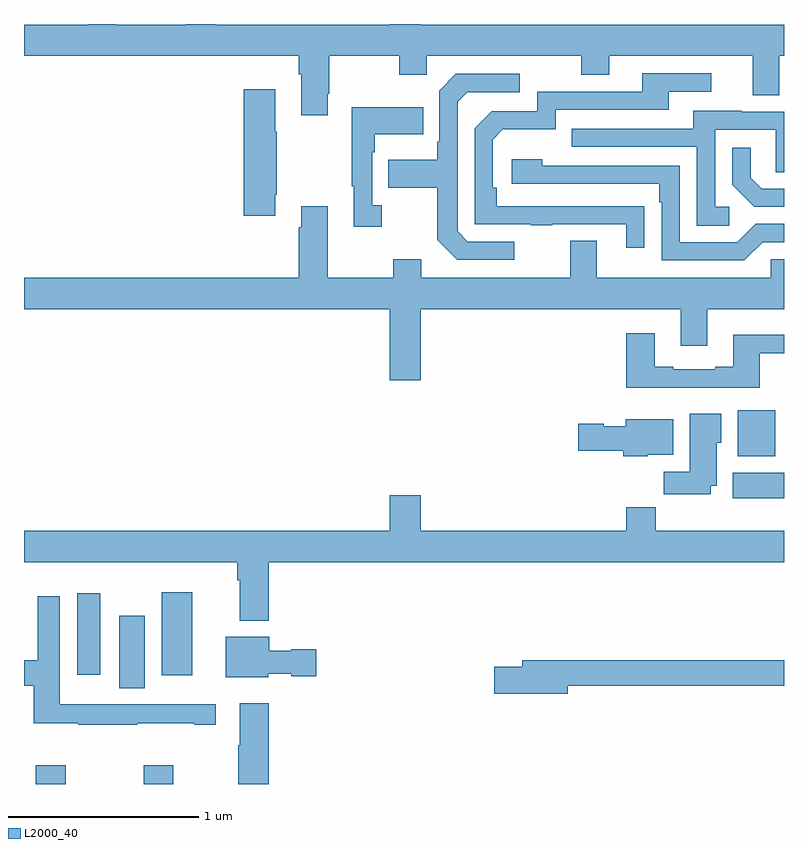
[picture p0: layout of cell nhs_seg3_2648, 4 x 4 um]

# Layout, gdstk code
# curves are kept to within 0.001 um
import gdstk
lib = gdstk.Library(unit=1e-6, precision=1e-09)
def R(c, l, rs):  # rectangles x0, y0, x1, y1
    for r in rs: c.add(gdstk.rectangle(r[:2], r[2:], *l))
def P(c, l, *ps):  # polygons
    for p in ps: c.add(gdstk.Polygon(p, *l))
L2000_40 = (2000, 40)

nhs_seg3_2648 = lib.new_cell('nhs_seg3_2648')
R(nhs_seg3_2648, L2000_40, [(247.061,714.4,247.221,714.499), (247.63,714.4,247.785,714.499), (247.502,714.904,247.636,715.285), (247.724,714.972,247.885,715.408), (247.28,714.975,247.402,715.405), (250.73,715.904,251,716.038), (250.757,716.126,250.954,716.368)])
P(nhs_seg3_2648, L2000_40, [(248.599,718.033),(248.607,718.033),(248.607,718.232),(248.974,718.232),(248.974,718.133),(249.12,718.133),(249.12,718.232),(249.934,718.232),(249.934,718.133),(250.081,718.133),(250.081,718.232),(250.835,718.232),(250.835,718.024),(250.975,718.024),(250.975,718.232),(251,718.232),(251,718.396),(249.088,718.396),(249.088,718.4),(248.924,718.4),(248.924,718.396),(248.012,718.396),(248.012,718.4),(247.852,718.4),(247.852,718.396),(247.485,718.396),(247.485,718.4),(247.338,718.4),(247.338,718.396),(247,718.396),(247,718.232),(248.447,718.232),(248.447,718.136),(248.459,718.136),(248.459,717.921),(248.599,717.921)],
  [(250.265,717.44),(249.488,717.441),(249.488,717.538),(249.468,717.538),(249.468,717.792),(249.521,717.845),(249.798,717.845),(249.798,717.948),(250.393,717.948),(250.393,718.044),(250.618,718.044),(250.618,718.14),(250.253,718.14),(250.253,718.044),(249.702,718.044),(249.702,717.942),(249.462,717.942),(249.372,717.852),(249.372,717.345),(249.667,717.345),(249.667,717.34),(249.779,717.34),(249.779,717.345),(250.169,717.345),(250.169,717.222),(250.265,717.222)],
  [(249.58,717.255),(249.336,717.255),(249.282,717.309),(249.282,717.99),(249.333,718.041),(249.61,718.041),(249.61,718.137),(249.273,718.137),(249.186,718.05),(249.186,717.781),(249.174,717.781),(249.174,717.685),(248.917,717.685),(248.917,717.538),(249.174,717.538),(249.174,717.265),(249.279,717.159),(249.58,717.159)],
  [(248.323,717.502),(248.331,717.502),(248.331,717.833),(248.323,717.833),(248.323,718.057),(248.156,718.057),(248.156,717.39),(248.323,717.39)],
  [(248.884,717.446),(248.832,717.446),(248.832,717.725),(248.845,717.725),(248.845,717.821),(249.101,717.821),(249.101,717.961),(248.724,717.961),(248.724,717.545),(248.735,717.545),(248.735,717.333),(248.884,717.333)],
  [(250.711,717.438),(250.638,717.438),(250.638,717.843),(250.956,717.843),(250.956,717.619),(251,717.619),(251,717.939),(250.777,717.939),(250.777,717.943),(250.523,717.943),(250.523,717.849),(249.883,717.849),(249.883,717.753),(250.542,717.753),(250.542,717.337),(250.711,717.337)],
  [(251,717.534),(250.882,717.534),(250.825,717.591),(250.825,717.748),(250.728,717.748),(250.728,717.554),(250.844,717.438),(251,717.438)],
  [(250.887,717.252),(251,717.252),(251,717.348),(250.851,717.348),(250.755,717.252),(250.452,717.252),(250.452,717.654),(249.728,717.654),(249.728,717.688),(249.567,717.688),(249.567,717.558),(250.343,717.558),(250.343,717.461),(250.356,717.461),(250.356,717.156),(250.791,717.156)],
  [(249.088,716.9),(250.457,716.9),(250.457,716.706),(250.597,716.706),(250.597,716.9),(251,716.9),(251,717.162),(250.929,717.162),(250.929,717.064),(250.015,717.064),(250.015,717.259),(249.875,717.259),(249.875,717.064),(249.091,717.064),(249.091,717.163),(248.944,717.163),(248.944,717.064),(248.599,717.064),(248.599,717.442),(248.459,717.442),(248.459,717.329),(248.447,717.329),(248.447,717.064),(247,717.064),(247,716.9),(248.924,716.9),(248.924,716.526),(249.088,716.526)],
  [(250.873,716.667),(251,716.667),(251,716.764),(250.733,716.764),(250.733,716.596),(250.637,716.596),(250.637,716.583),(250.417,716.583),(250.417,716.596),(250.321,716.596),(250.321,716.773),(250.169,716.773),(250.169,716.486),(250.873,716.486)],
  [(250.615,715.97),(250.645,715.97),(250.645,716.196),(250.669,716.196),(250.669,716.35),(250.505,716.35),(250.505,716.044),(250.366,716.044),(250.366,715.926),(250.615,715.926)],
  [(250.284,716.132),(250.417,716.132),(250.417,716.32),(250.166,716.32),(250.166,716.284),(250.05,716.284),(250.05,716.297),(249.918,716.297),(249.918,716.155),(250.154,716.155),(250.154,716.126),(250.284,716.126)],
  [(248.288,715.568),(251,715.568),(251,715.732),(250.325,715.732),(250.325,715.856),(250.169,715.856),(250.169,715.732),(249.088,715.732),(249.088,715.921),(248.924,715.921),(248.924,715.732),(247,715.732),(247,715.568),(248.123,715.568),(248.123,715.472),(248.135,715.472),(248.135,715.259),(248.288,715.259)],
  [(247.595,714.721),(247.895,714.721),(247.895,714.711),(248.008,714.711),(248.008,714.82),(247.732,714.82),(247.732,714.819),(247.398,714.819),(247.398,714.82),(247.188,714.82),(247.188,715.387),(247.072,715.387),(247.072,715.052),(247,715.052),(247,714.916),(247.051,714.916),(247.051,714.721),(247.285,714.721),(247.285,714.711),(247.595,714.711)],
  [(248.286,714.98),(248.406,714.98),(248.406,714.968),(248.539,714.968),(248.539,715.11),(248.406,715.11),(248.406,715.102),(248.29,715.102),(248.29,715.174),(248.063,715.174),(248.063,714.962),(248.286,714.962)],
  [(249.862,714.916),(251,714.916),(251,715.052),(249.623,715.052),(249.623,715.016),(249.474,715.016),(249.474,714.874),(249.862,714.874)],
  [(248.288,714.826),(248.135,714.826),(248.135,714.605),(248.128,714.605),(248.128,714.4),(248.288,714.4)])

lib.write_gds('nhs_seg3_2648.gds')
